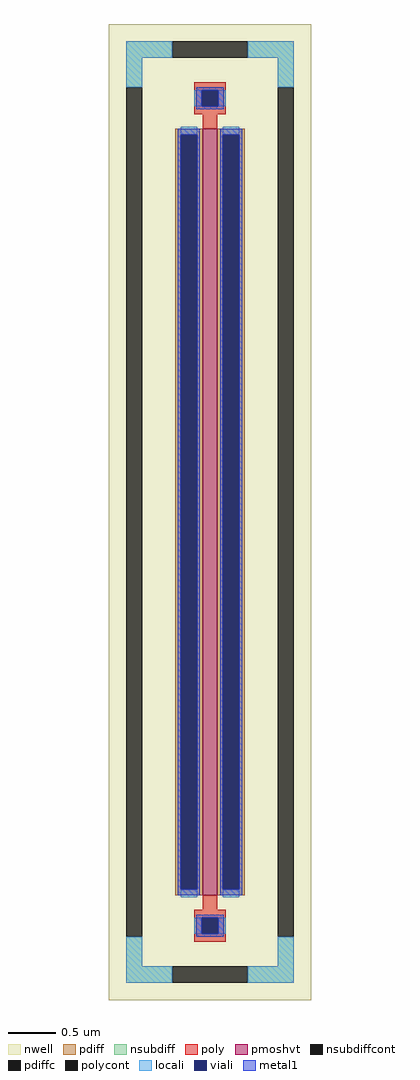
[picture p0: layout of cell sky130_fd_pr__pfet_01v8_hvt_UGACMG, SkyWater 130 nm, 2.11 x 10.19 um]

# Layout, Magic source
magic
tech sky130A
magscale 1 2
<< nwell >>
rect -211 -1019 211 1019
<< pmoshvt >>
rect -15 -800 15 800
<< pdiff >>
rect -73 788 -15 800
rect -73 -788 -61 788
rect -27 -788 -15 788
rect -73 -800 -15 -788
rect 15 788 73 800
rect 15 -788 27 788
rect 61 -788 73 788
rect 15 -800 73 -788
<< pdiffc >>
rect -61 -788 -27 788
rect 27 -788 61 788
<< nsubdiff >>
rect -175 949 -79 983
rect 79 949 175 983
rect -175 887 -141 949
rect 141 887 175 949
rect -175 -949 -141 -887
rect 141 -949 175 -887
rect -175 -983 -79 -949
rect 79 -983 175 -949
<< nsubdiffcont >>
rect -79 949 79 983
rect -175 -887 -141 887
rect 141 -887 175 887
rect -79 -983 79 -949
<< poly >>
rect -33 881 33 897
rect -33 847 -17 881
rect 17 847 33 881
rect -33 831 33 847
rect -15 800 15 831
rect -15 -831 15 -800
rect -33 -847 33 -831
rect -33 -881 -17 -847
rect 17 -881 33 -847
rect -33 -897 33 -881
<< polycont >>
rect -17 847 17 881
rect -17 -881 17 -847
<< locali >>
rect -175 949 -79 983
rect 79 949 175 983
rect -175 887 -141 949
rect 141 887 175 949
rect -33 847 -17 881
rect 17 847 33 881
rect -61 788 -27 804
rect -61 -804 -27 -788
rect 27 788 61 804
rect 27 -804 61 -788
rect -33 -881 -17 -847
rect 17 -881 33 -847
rect -175 -949 -141 -887
rect 141 -949 175 -887
rect -175 -983 -79 -949
rect 79 -983 175 -949
<< viali >>
rect -17 847 17 881
rect -61 -788 -27 788
rect 27 -788 61 788
rect -17 -881 17 -847
<< metal1 >>
rect -29 881 29 887
rect -29 847 -17 881
rect 17 847 29 881
rect -29 841 29 847
rect -67 788 -21 800
rect -67 -788 -61 788
rect -27 -788 -21 788
rect -67 -800 -21 -788
rect 21 788 67 800
rect 21 -788 27 788
rect 61 -788 67 788
rect 21 -800 67 -788
rect -29 -847 29 -841
rect -29 -881 -17 -847
rect 17 -881 29 -847
rect -29 -887 29 -881
<< properties >>
string FIXED_BBOX -158 -966 158 966
string gencell sky130_fd_pr__pfet_01v8_hvt
string library sky130
string parameters w 8.0 l 0.15 m 1 nf 1 diffcov 100 polycov 100 guard 1 glc 1 grc 1 gtc 1 gbc 1 tbcov 100 rlcov 100 topc 1 botc 1 poverlap 0 doverlap 1 lmin 0.15 wmin 0.42 compatible {sky130_fd_pr__pfet_01v8  sky130_fd_pr__pfet_01v8_lvt sky130_fd_pr__pfet_01v8_hvt  sky130_fd_pr__pfet_g5v0d10v5} full_metal 1 viasrc 100 viadrn 100 viagate 100 viagb 0 viagr 0 viagl 0 viagt 0
<< end >>
